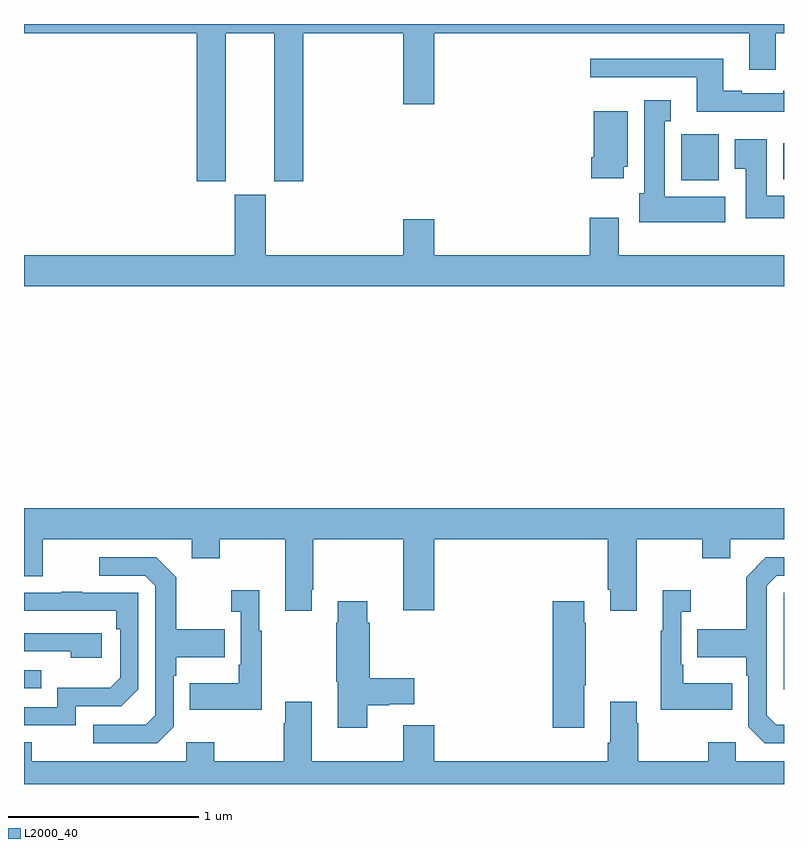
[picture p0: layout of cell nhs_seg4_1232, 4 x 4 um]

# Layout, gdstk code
import gdstk
lib = gdstk.Library(unit=1e-6, precision=1e-09)
def R(c, l, rs):  # rectangles x0, y0, x1, y1
    for r in rs: c.add(gdstk.rectangle(r[:2], r[2:], *l))
def P(c, l, *ps):  # polygons
    for p in ps: c.add(gdstk.Polygon(p, *l))
L2000_40 = (2000, 40)

nhs_seg4_1232 = lib.new_cell('nhs_seg4_1232')
R(nhs_seg4_1232, L2000_40, [(175,761.403,175.091,761.499), (178.46,764.078,178.657,764.32), (178.997,764.084,179,764.272)])
P(nhs_seg4_1232, L2000_40, [(176.062,764.852),(176.318,764.852),(176.318,764.073),(176.471,764.073),(176.471,764.852),(176.996,764.852),(176.996,764.478),(177.16,764.478),(177.16,764.852),(178.817,764.852),(178.817,764.658),(178.957,764.658),(178.957,764.852),(179,764.852),(179,764.9),(175,764.9),(175,764.852),(175.91,764.852),(175.91,764.073),(176.062,764.073)],
  [(179,764.548),(178.997,764.548),(178.997,764.535),(178.777,764.535),(178.777,764.548),(178.681,764.548),(178.681,764.716),(177.981,764.716),(177.981,764.619),(178.541,764.619),(178.541,764.438),(179,764.438)],
  [(178.69,763.99),(178.372,763.99),(178.372,764.387),(178.405,764.387),(178.405,764.5),(178.265,764.5),(178.265,764.01),(178.238,764.01),(178.238,763.856),(178.69,763.856)],
  [(178.156,764.148),(178.177,764.148),(178.177,764.44),(177.998,764.44),(177.998,764.2),(177.986,764.2),(177.986,764.088),(178.156,764.088)],
  [(179,763.996),(178.909,763.996),(178.909,764.293),(178.742,764.293),(178.742,764.137),(178.799,764.137),(178.799,763.878),(179,763.878)],
  [(179,763.684),(178.129,763.684),(178.129,763.879),(177.977,763.879),(177.977,763.684),(177.16,763.684),(177.16,763.873),(176.996,763.873),(176.996,763.684),(176.272,763.684),(176.272,764.001),(176.108,764.001),(176.108,763.684),(175,763.684),(175,763.52),(179,763.52)],
  [(176.515,761.923),(176.523,761.923),(176.523,762.188),(176.996,762.188),(176.996,761.814),(177.16,761.814),(177.16,762.188),(178.073,762.188),(178.073,761.923),(178.085,761.923),(178.085,761.811),(178.225,761.811),(178.225,762.188),(178.57,762.188),(178.57,762.089),(178.717,762.089),(178.717,762.188),(179,762.188),(179,762.352),(175,762.352),(175,761.994),(175.099,761.994),(175.099,762.188),(175.883,762.188),(175.883,762.089),(176.031,762.089),(176.031,762.188),(176.375,762.188),(176.375,761.811),(176.515,761.811)],
  [(175.788,761.202),(175.788,761.471),(175.801,761.471),(175.801,761.567),(176.057,761.567),(176.057,761.715),(175.801,761.715),(175.801,761.987),(175.695,762.093),(175.395,762.093),(175.395,761.997),(175.638,761.997),(175.692,761.943),(175.692,761.262),(175.641,761.211),(175.365,761.211),(175.365,761.115),(175.701,761.115)],
  [(179,761.211),(178.959,761.211),(178.908,761.262),(178.908,761.943),(178.962,761.997),(179,761.997),(179,762.093),(178.905,762.093),(178.8,761.987),(178.8,761.715),(178.543,761.715),(178.543,761.567),(178.8,761.567),(178.8,761.471),(178.812,761.471),(178.812,761.202),(178.899,761.115),(179,761.115)],
  [(178.727,761.431),(178.471,761.431),(178.471,761.527),(178.458,761.527),(178.458,761.807),(178.51,761.807),(178.51,761.92),(178.361,761.92),(178.361,761.707),(178.35,761.707),(178.35,761.291),(178.727,761.291)],
  [(176.251,761.707),(176.239,761.707),(176.239,761.92),(176.091,761.92),(176.091,761.807),(176.142,761.807),(176.142,761.527),(176.13,761.527),(176.13,761.431),(175.873,761.431),(175.873,761.291),(176.251,761.291)],
  [(175.272,761.31),(175.512,761.31),(175.602,761.4),(175.602,761.907),(175.307,761.907),(175.307,761.912),(175.195,761.912),(175.195,761.907),(175,761.907),(175,761.811),(175.486,761.811),(175.486,761.714),(175.506,761.714),(175.506,761.46),(175.453,761.407),(175.176,761.407),(175.176,761.304),(175,761.304),(175,761.208),(175.272,761.208)],
  [(179,761.907),(178.998,761.907),(178.998,761.4),(179,761.398)],
  [(177.949,761.419),(177.957,761.419),(177.957,761.75),(177.949,761.75),(177.949,761.863),(177.782,761.863),(177.782,761.196),(177.949,761.196)],
  [(176.806,761.314),(176.922,761.314),(176.922,761.321),(177.055,761.321),(177.055,761.456),(176.819,761.456),(176.819,761.75),(176.806,761.75),(176.806,761.863),(176.651,761.863),(176.651,761.75),(176.644,761.75),(176.644,761.439),(176.651,761.439),(176.651,761.196),(176.806,761.196)],
  [(175.408,761.694),(175,761.694),(175,761.598),(175.247,761.598),(175.247,761.564),(175.408,761.564)],
  [(179,761.02),(178.746,761.02),(178.746,761.119),(178.6,761.119),(178.6,761.02),(178.233,761.02),(178.233,761.219),(178.225,761.219),(178.225,761.332),(178.085,761.332),(178.085,761.116),(178.073,761.116),(178.073,761.02),(177.16,761.02),(177.16,761.209),(176.996,761.209),(176.996,761.02),(176.515,761.02),(176.515,761.332),(176.375,761.332),(176.375,761.219),(176.368,761.219),(176.368,761.02),(176.001,761.02),(176.001,761.119),(175.854,761.119),(175.854,761.02),(175.041,761.02),(175.041,761.119),(175,761.119),(175,760.9),(179,760.9)])

lib.write_gds('nhs_seg4_1232.gds')
